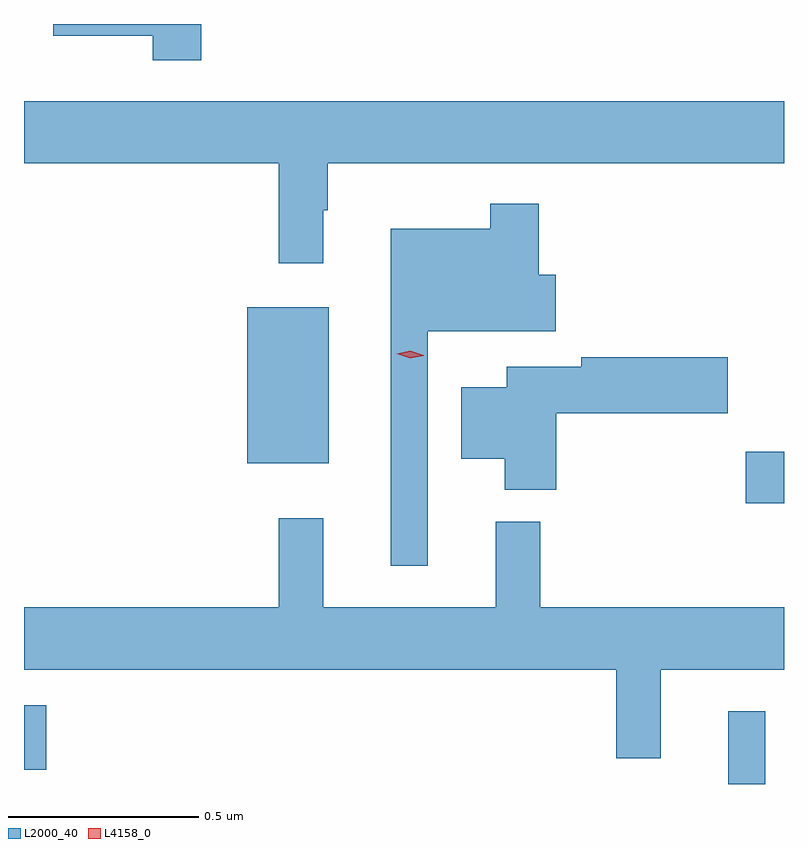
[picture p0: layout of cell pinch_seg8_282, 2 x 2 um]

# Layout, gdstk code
import gdstk
lib = gdstk.Library(unit=1e-6, precision=1e-09)
def R(c, l, rs):  # rectangles x0, y0, x1, y1
    for r in rs: c.add(gdstk.rectangle(r[:2], r[2:], *l))
def P(c, l, *ps):  # polygons
    for p in ps: c.add(gdstk.Polygon(p, *l))
L2000_40 = (2000, 40)
L4158_0 = (4158, 0)

pinch_seg8_282 = lib.new_cell('pinch_seg8_282')
R(pinch_seg8_282, L2000_40, [(506.948,1138.843,507.045,1139.035), (505.095,1138.88,505.153,1139.05), (506.994,1139.582,507.095,1139.717), (505.682,1139.687,505.897,1140.097)])
P(pinch_seg8_282, L2000_40, [(505.562,1140.843),(505.172,1140.843),(505.172,1140.812),(505.434,1140.812),(505.434,1140.747),(505.562,1140.747)],
  [(505.882,1140.353),(505.894,1140.353),(505.894,1140.476),(507.095,1140.476),(507.095,1140.64),(505.095,1140.64),(505.095,1140.476),(505.765,1140.476),(505.765,1140.213),(505.882,1140.213)],
  [(506.157,1140.035),(506.494,1140.035),(506.494,1140.183),(506.45,1140.183),(506.45,1140.37),(506.322,1140.37),(506.322,1140.304),(506.06,1140.304),(506.06,1139.418),(506.157,1139.418)],
  [(506.495,1139.819),(506.947,1139.819),(506.947,1139.966),(506.562,1139.966),(506.562,1139.941),(506.366,1139.941),(506.366,1139.887),(506.246,1139.887),(506.246,1139.699),(506.36,1139.699),(506.36,1139.618),(506.495,1139.618)],
  [(506.771,1139.144),(507.095,1139.144),(507.095,1139.308),(506.453,1139.308),(506.453,1139.533),(506.336,1139.533),(506.336,1139.308),(505.883,1139.308),(505.883,1139.542),(505.765,1139.542),(505.765,1139.308),(505.095,1139.308),(505.095,1139.144),(506.653,1139.144),(506.653,1138.911),(506.771,1138.911)])
P(pinch_seg8_282, L4158_0, [(506.111,1139.963),(506.076,1139.975),(506.076,1139.975),(506.076,1139.975),(506.112,1139.983),(506.147,1139.971),(506.147,1139.97),(506.147,1139.97)])

lib.write_gds('pinch_seg8_282.gds')
